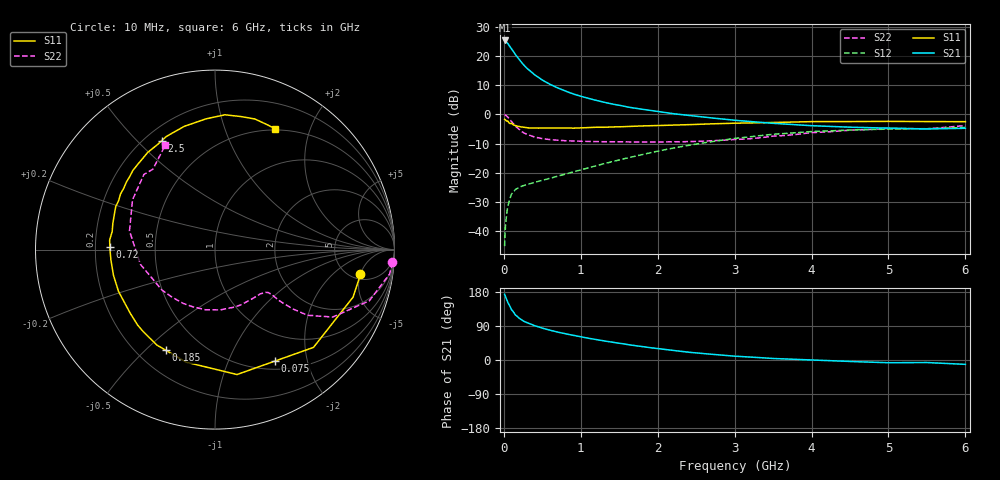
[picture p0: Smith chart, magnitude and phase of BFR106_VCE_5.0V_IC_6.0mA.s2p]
! Infineon Technologies  Discrete & RF Semiconductors
! BFR106
! VCE =  5.0 V,  IC =  6.0 mA
! Common Emitter S-Parameters:  Nov 2015
# GHz  S  MA  R  50
!  f  S11  S21  S12  S22
! GHz  MAG  ANG  MAG  ANG  MAG  ANG  MAG  ANG
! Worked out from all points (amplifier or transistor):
!   210 points, 10 MHz to 6 GHz, reference 50 ohm
!   highest |S21| = 25.5 dB at 10 MHz (marker M1)
!   |S21| within 3 dB of that: start of sweep to 104.7 MHz
!   unconditionally stable (mu >= 1): 587.4 MHz to 1.874 GHz; 5.01 GHz to end of sweep
!   at 185 MHz: K = 0.43, MSG = 22.4 dB, |S12| = -25.3 dB
!   at 1.52 GHz: K = 1.09, MAG = 7.4 dB, |S12| = -15.5 dB
!   at 6 GHz: K = 1.01, MAG = -0.9 dB, |S12| = -4.5 dB
!   S11 on the Smith chart (normalised r, x): 10 MHz: 5.88, -5.03; 75 MHz: 0.61, -1.50; 185 MHz: 0.31, -0.58; 720 MHz: 0.26, +0.01; 2.5 GHz: 0.27, +0.59; 6 GHz: 0.48, +1.50
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0.01  0.8223 -9.7  18.81 173.4  0.0054 88.3  0.9914 -4.1
0.02  0.8135 -19.0  18.5 168.2  0.0112 81.5  0.9824 -8.0
0.05  0.7732 -44.8  16.8 152.0  0.0259 68.3  0.9053 -18.4
0.075  0.7054 -61.6  15 143.4  0.0339 59.4  0.8259 -23.6
0.1  0.7068 -80.0  13.62 132.7  0.0425 54.0  0.7547 -29.9
0.15  0.6475 -104.4  10.74 118.8  0.0509 46.3  0.6309 -35.4
0.185  0.6242 -116.2  9.359 113.2  0.0543 44.1  0.5741 -36.6
0.2  0.6227 -121.4  8.801 110.2  0.0558 43.3  0.5498 -37.2
0.26  0.6019 -135.8  7.093 102.2  0.06 41.4  0.4821 -38.2
0.3  0.5909 -142.9  6.228 98.3  0.0622 41.6  0.4547 -38.5
0.4  0.5859 -156.5  4.823 90.5  0.0679 43.2  0.4081 -38.4
0.5  0.5835 -165.9  3.909 83.9  0.0734 45.8  0.3826 -38.8
0.6  0.5827 -174.0  3.306 78.5  0.0796 48.8  0.3692 -40.2
0.72  0.5859 178.7  2.795 72.7  0.0878 52.2  0.3591 -42.7
1.02  0.5891 164.3  2.023 60.4  0.1129 58.5  0.346 -50.4
1.4  0.6107 149.6  1.519 47.4  0.1528 62.5  0.3403 -63.6
2.02  0.6453 129.6  1.113 29.7  0.2362 61.2  0.3357 -90.6
2.5  0.6755 116.1  0.93 18.8  0.3093 55.8  0.3435 -115.4
3.1  0.7104 101.9  0.776 9.0  0.3997 45.8  0.3752 -148.3
4.1  0.7526 84.4  0.633 -0.9  0.5134 26.6  0.4928 163.7
5.1  0.7591 71.9  0.578 -7.1  0.562 10.2  0.5739 132.3
6  0.7514 63.8  0.578 -11.5  0.5986 -1.2  0.6444 115.5
